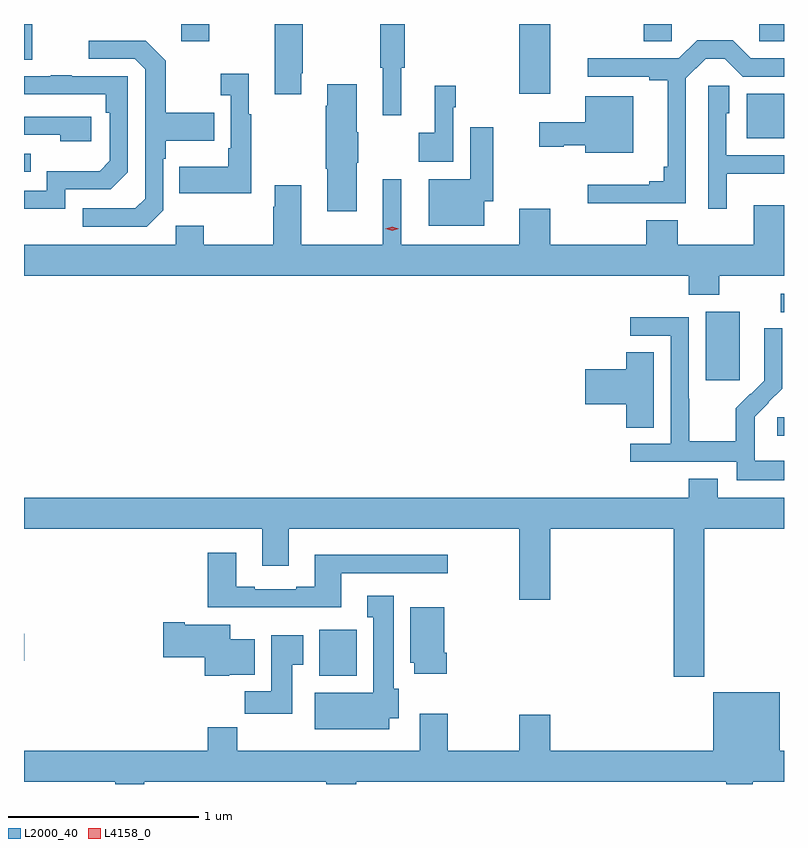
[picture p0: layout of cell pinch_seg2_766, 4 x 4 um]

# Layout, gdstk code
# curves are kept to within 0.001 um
import gdstk
lib = gdstk.Library(unit=1e-6, precision=1e-09)
def R(c, l, rs):  # rectangles x0, y0, x1, y1
    for r in rs: c.add(gdstk.rectangle(r[:2], r[2:], *l))
def P(c, l, *ps):  # polygons
    for p in ps: c.add(gdstk.Polygon(p, *l))
L2000_40 = (2000, 40)
L4158_0 = (4158, 0)

pinch_seg2_766 = lib.new_cell('pinch_seg2_766')
R(pinch_seg2_766, L2000_40, [(727.391,649.526,727.588,649.768), (725.837,649.606,725.839,649.748), (729.801,650.789,729.837,650.886), (729.425,651.081,729.604,651.442), (729.819,651.441,729.837,651.537), (725.837,652.179,725.873,652.275), (729.641,652.355,729.837,652.591), (728.444,652.59,728.608,652.957), (725.837,652.77,725.881,652.957), (726.665,652.865,726.813,652.957), (729.1,652.866,729.246,652.957), (729.708,652.866,729.837,652.957)])
P(pinch_seg2_766, L2000_40, [(727.713,652.726),(727.724,652.726),(727.724,652.476),(727.823,652.476),(727.823,652.728),(727.841,652.728),(727.841,652.957),(727.713,652.957)],
  [(727.297,652.699),(727.305,652.699),(727.305,652.957),(727.157,652.957),(727.157,652.587),(727.297,652.587)],
  [(729.017,652.014),(729.321,652.014),(729.321,652.671),(729.425,652.775),(729.526,652.775),(729.621,652.68),(729.837,652.68),(729.837,652.776),(729.663,652.776),(729.567,652.872),(729.38,652.872),(729.284,652.776),(729.051,652.776),(729.051,652.778),(728.805,652.778),(728.805,652.68),(729.128,652.68),(729.128,652.66),(729.224,652.66),(729.224,652.207),(729.205,652.207),(729.205,652.13),(729.128,652.13),(729.128,652.111),(728.805,652.111),(728.805,652.013)],
  [(726.57,651.978),(726.57,652.247),(726.583,652.247),(726.583,652.343),(726.839,652.343),(726.839,652.491),(726.583,652.491),(726.583,652.763),(726.477,652.869),(726.177,652.869),(726.177,652.773),(726.42,652.773),(726.474,652.719),(726.474,652.038),(726.423,651.987),(726.147,651.987),(726.147,651.891),(726.483,651.891)],
  [(727.033,652.483),(727.021,652.483),(727.021,652.696),(726.873,652.696),(726.873,652.583),(726.924,652.583),(726.924,652.303),(726.912,652.303),(726.912,652.207),(726.655,652.207),(726.655,652.067),(727.033,652.067)],
  [(726.054,652.086),(726.294,652.086),(726.384,652.176),(726.384,652.683),(726.089,652.683),(726.089,652.688),(725.977,652.688),(725.977,652.683),(725.837,652.683),(725.837,652.587),(726.268,652.587),(726.268,652.49),(726.288,652.49),(726.288,652.236),(726.235,652.183),(725.958,652.183),(725.958,652.08),(725.837,652.08),(725.837,651.984),(726.054,651.984)],
  [(727.588,652.228),(727.596,652.228),(727.596,652.388),(727.588,652.388),(727.588,652.639),(727.433,652.639),(727.433,652.526),(727.426,652.526),(727.426,652.195),(727.433,652.195),(727.433,651.972),(727.588,651.972)],
  [(728.097,652.52),(728.11,652.52),(728.11,652.633),(728,652.633),(728,652.385),(727.914,652.385),(727.914,652.232),(728.097,652.232)],
  [(729.535,652.169),(729.837,652.169),(729.837,652.266),(729.534,652.266),(729.534,652.488),(729.55,652.488),(729.55,652.631),(729.438,652.631),(729.438,651.984),(729.535,651.984)],
  [(729.043,652.576),(728.792,652.576),(728.792,652.441),(728.55,652.441),(728.55,652.312),(728.679,652.312),(728.679,652.319),(728.792,652.319),(728.792,652.28),(729.043,652.28)],
  [(726.19,652.47),(725.837,652.47),(725.837,652.374),(726.029,652.374),(726.029,652.34),(726.19,652.34)],
  [(728.26,652.025),(728.308,652.025),(728.308,652.414),(728.186,652.414),(728.186,652.141),(727.967,652.141),(727.967,651.896),(728.26,651.896)],
  [(729.495,651.632),(729.837,651.632),(729.837,652.003),(729.677,652.003),(729.677,651.796),(729.277,651.796),(729.277,651.925),(729.113,651.925),(729.113,651.796),(728.608,651.796),(728.608,651.985),(728.444,651.985),(728.444,651.796),(727.822,651.796),(727.822,652.141),(727.724,652.141),(727.724,651.796),(727.297,651.796),(727.297,652.108),(727.157,652.108),(727.157,651.995),(727.15,651.995),(727.15,651.796),(726.783,651.796),(726.783,651.895),(726.636,651.895),(726.636,651.796),(725.837,651.796),(725.837,651.632),(729.335,651.632),(729.335,651.533),(729.495,651.533)],
  [(729.837,650.659),(729.684,650.659),(729.684,650.793),(729.682,650.793),(729.682,650.89),(729.828,651.038),(729.828,651.356),(729.732,651.356),(729.732,651.202),(729.734,651.202),(729.734,651.08),(729.663,651.009),(729.66,651.012),(729.583,650.935),(729.583,650.761),(729.339,650.761),(729.339,650.984),(729.336,650.984),(729.336,651.414),(729.027,651.414),(729.027,651.315),(729.24,651.315),(729.24,650.748),(729.027,650.748),(729.027,650.652),(729.588,650.652),(729.588,650.555),(729.837,650.555)],
  [(729.151,651.23),(729.008,651.23),(729.008,651.14),(728.79,651.14),(728.79,650.957),(729.008,650.957),(729.008,650.833),(729.151,650.833)],
  [(729.417,650.3),(729.837,650.3),(729.837,650.464),(729.487,650.464),(729.487,650.563),(729.335,650.563),(729.335,650.464),(725.837,650.464),(725.837,650.3),(727.091,650.3),(727.091,650.106),(727.231,650.106),(727.231,650.3),(728.444,650.3),(728.444,649.926),(728.608,649.926),(728.608,650.3),(729.257,650.3),(729.257,649.521),(729.417,649.521)],
  [(727.507,650.067),(728.068,650.067),(728.068,650.164),(727.367,650.164),(727.367,649.996),(727.271,649.996),(727.271,649.983),(727.051,649.983),(727.051,649.996),(726.955,649.996),(726.955,650.173),(726.803,650.173),(726.803,649.886),(727.507,649.886)],
  [(727.759,649.304),(727.81,649.304),(727.81,649.458),(727.783,649.458),(727.783,649.948),(727.643,649.948),(727.643,649.835),(727.676,649.835),(727.676,649.438),(727.367,649.438),(727.367,649.244),(727.759,649.244)],
  [(728.063,649.648),(728.05,649.648),(728.05,649.888),(727.871,649.888),(727.871,649.596),(727.892,649.596),(727.892,649.536),(728.063,649.536)],
  [(726.918,649.532),(727.051,649.532),(727.051,649.72),(726.922,649.72),(726.922,649.795),(726.682,649.795),(726.682,649.808),(726.57,649.808),(726.57,649.625),(726.788,649.625),(726.788,649.526),(726.918,649.526)],
  [(727.249,649.585),(727.306,649.585),(727.306,649.741),(727.139,649.741),(727.139,649.444),(727,649.444),(727,649.326),(727.249,649.326)],
  [(726.469,648.968),(727.429,648.968),(727.429,648.957),(727.586,648.957),(727.586,648.968),(729.533,648.968),(729.533,648.957),(729.673,648.957),(729.673,648.968),(729.837,648.968),(729.837,649.132),(729.814,649.132),(729.814,649.441),(729.464,649.441),(729.464,649.132),(728.608,649.132),(728.608,649.321),(728.444,649.321),(728.444,649.132),(728.067,649.132),(728.067,649.327),(727.919,649.327),(727.919,649.132),(726.959,649.132),(726.959,649.256),(726.803,649.256),(726.803,649.132),(725.837,649.132),(725.837,648.968),(726.317,648.968),(726.317,648.957),(726.469,648.957)])
P(pinch_seg2_766, L4158_0, [(727.774,651.87),(727.738,651.88),(727.738,651.88),(727.738,651.88),(727.774,651.89),(727.809,651.88),(727.809,651.88),(727.809,651.88)])

lib.write_gds('pinch_seg2_766.gds')
